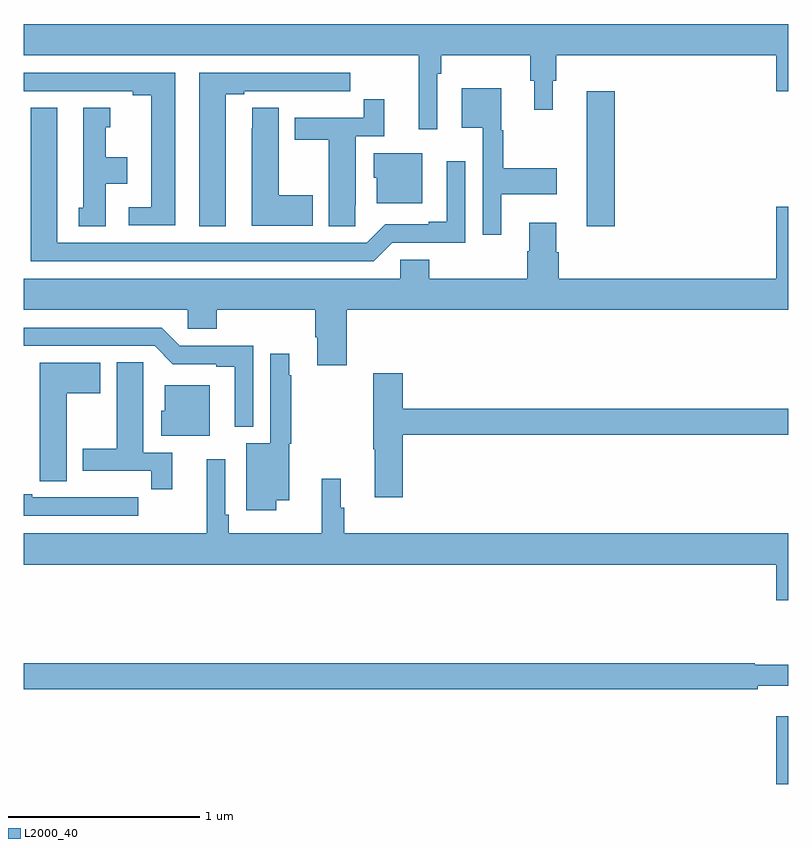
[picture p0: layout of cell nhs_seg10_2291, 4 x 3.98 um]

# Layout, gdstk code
import gdstk
lib = gdstk.Library(unit=1e-6, precision=1e-09)
def R(c, l, rs):  # rectangles x0, y0, x1, y1
    for r in rs: c.add(gdstk.rectangle(r[:2], r[2:], *l))
def P(c, l, *ps):  # polygons
    for p in ps: c.add(gdstk.Polygon(p, *l))
L2000_40 = (2000, 40)

nhs_seg10_2291 = lib.new_cell('nhs_seg10_2291')
R(nhs_seg10_2291, L2000_40, [(236.936,1300.5,237,1300.855), (235.946,1303.419,236.093,1304.125)])
P(nhs_seg10_2291, L2000_40, [(233,1304.312),(235.067,1304.312),(235.067,1303.926),(235.164,1303.926),(235.164,1304.216),(235.184,1304.216),(235.184,1304.312),(235.651,1304.312),(235.651,1304.178),(235.67,1304.178),(235.67,1304.028),(235.768,1304.028),(235.768,1304.178),(235.787,1304.178),(235.787,1304.312),(236.936,1304.312),(236.936,1304.124),(237,1304.124),(237,1304.476),(233,1304.476)],
  [(234.058,1304.109),(234.154,1304.109),(234.154,1304.124),(234.43,1304.124),(234.43,1304.123),(234.596,1304.123),(234.596,1304.124),(234.709,1304.124),(234.709,1304.22),(233.918,1304.22),(233.918,1303.417),(234.058,1303.417)],
  [(233.794,1304.22),(233,1304.22),(233,1304.124),(233.57,1304.124),(233.57,1304.104),(233.666,1304.104),(233.666,1303.518),(233.55,1303.518),(233.55,1303.422),(233.794,1303.422)],
  [(235.498,1303.586),(235.789,1303.586),(235.789,1303.721),(235.51,1303.721),(235.51,1303.92),(235.498,1303.92),(235.498,1304.14),(235.292,1304.14),(235.292,1303.934),(235.401,1303.934),(235.401,1303.374),(235.498,1303.374)],
  [(234.735,1303.528),(234.736,1303.528),(234.736,1303.89),(234.887,1303.89),(234.887,1304.083),(234.778,1304.083),(234.778,1303.986),(234.419,1303.986),(234.419,1303.87),(234.596,1303.87),(234.596,1303.417),(234.735,1303.417)],
  [(234.511,1303.581),(234.334,1303.581),(234.334,1304.039),(234.195,1304.039),(234.195,1303.931),(234.194,1303.931),(234.194,1303.421),(234.511,1303.421)],
  [(233.428,1303.64),(233.542,1303.64),(233.542,1303.78),(233.428,1303.78),(233.428,1303.935),(233.452,1303.935),(233.452,1304.038),(233.312,1304.038),(233.312,1303.515),(233.288,1303.515),(233.288,1303.417),(233.428,1303.417)],
  [(234.927,1303.332),(235.311,1303.332),(235.311,1303.759),(235.214,1303.759),(235.214,1303.441),(235.118,1303.441),(235.118,1303.428),(234.891,1303.428),(234.795,1303.332),(233.176,1303.332),(233.176,1304.038),(233.036,1304.038),(233.036,1303.236),(234.831,1303.236)],
  [(235.084,1303.801),(234.83,1303.801),(234.83,1303.671),(234.848,1303.671),(234.848,1303.538),(235.084,1303.538)],
  [(234.689,1302.98),(237,1302.98),(237,1303.519),(236.936,1303.519),(236.936,1303.144),(235.799,1303.144),(235.799,1303.281),(235.786,1303.281),(235.786,1303.435),(235.646,1303.435),(235.646,1303.286),(235.634,1303.286),(235.634,1303.144),(235.121,1303.144),(235.121,1303.242),(234.969,1303.242),(234.969,1303.144),(233,1303.144),(233,1302.98),(233.859,1302.98),(233.859,1302.882),(234.011,1302.882),(234.011,1302.98),(234.524,1302.98),(234.524,1302.838),(234.536,1302.838),(234.536,1302.69),(234.689,1302.69)],
  [(234.201,1302.792),(233.817,1302.792),(233.721,1302.888),(233,1302.888),(233,1302.792),(233.685,1302.792),(233.781,1302.696),(234.008,1302.696),(234.008,1302.684),(234.104,1302.684),(234.104,1302.368),(234.201,1302.368)],
  [(234.322,1301.984),(234.388,1301.984),(234.388,1302.279),(234.4,1302.279),(234.4,1302.638),(234.388,1302.638),(234.388,1302.751),(234.291,1302.751),(234.291,1302.283),(234.164,1302.283),(234.164,1301.931),(234.322,1301.931)],
  [(233.777,1302.234),(233.626,1302.234),(233.626,1302.596),(233.625,1302.596),(233.625,1302.707),(233.486,1302.707),(233.486,1302.255),(233.309,1302.255),(233.309,1302.138),(233.668,1302.138),(233.668,1302.042),(233.777,1302.042)],
  [(233.224,1302.544),(233.401,1302.544),(233.401,1302.703),(233.084,1302.703),(233.084,1302.193),(233.085,1302.193),(233.085,1302.085),(233.224,1302.085)],
  [(234.983,1302.328),(237,1302.328),(237,1302.464),(234.983,1302.464),(234.983,1302.649),(234.829,1302.649),(234.829,1302.251),(234.836,1302.251),(234.836,1302),(234.983,1302)],
  [(233.974,1302.586),(233.738,1302.586),(233.738,1302.453),(233.72,1302.453),(233.72,1302.323),(233.974,1302.323)],
  [(237,1301.812),(234.677,1301.812),(234.677,1301.946),(234.658,1301.946),(234.658,1302.097),(234.559,1302.097),(234.559,1301.812),(234.074,1301.812),(234.074,1301.908),(234.054,1301.908),(234.054,1302.199),(233.957,1302.199),(233.957,1301.812),(233,1301.812),(233,1301.648),(236.936,1301.648),(236.936,1301.46),(237,1301.46)],
  [(233.599,1302),(233.486,1302),(233.486,1302.001),(233.32,1302.001),(233.32,1302),(233.044,1302),(233.044,1302.015),(233,1302.015),(233,1301.904),(233.599,1301.904)],
  [(236.84,1301.015),(237,1301.015),(237,1301.125),(236.824,1301.125),(236.824,1301.132),(233,1301.132),(233,1300.996),(236.84,1300.996)])

lib.write_gds('nhs_seg10_2291.gds')
